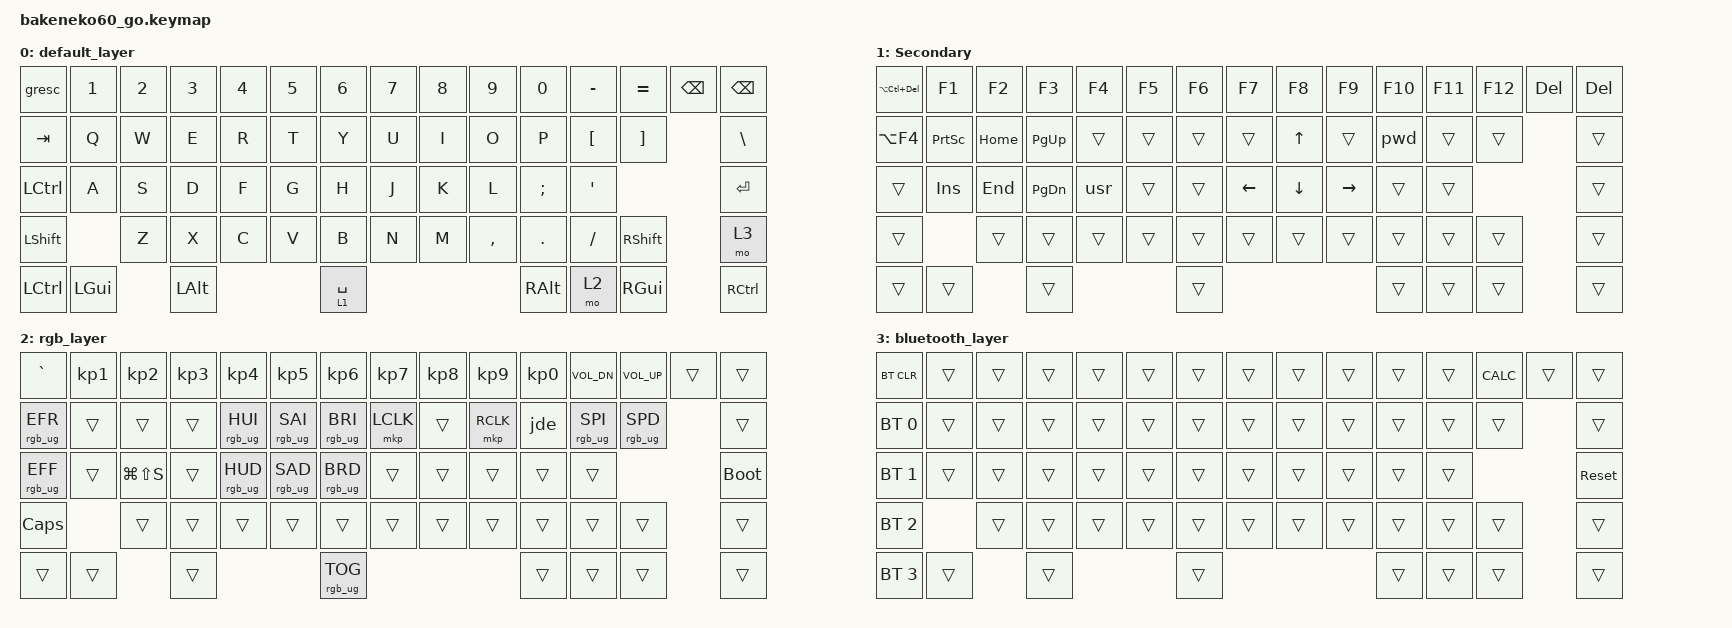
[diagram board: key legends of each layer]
/*
 * Copyright (c) 2023 Andrew Kannan
 *
 * SPDX-License-Identifier: MIT
 */

#include <behaviors.dtsi>
#include <dt-bindings/zmk/bt.h>
#include <dt-bindings/zmk/keys.h>
#include <dt-bindings/zmk/mouse.h>
#include <dt-bindings/zmk/rgb.h>

/ {
    macros {
        usr: usr {
            compatible = "zmk,behavior-macro";
            #binding-cells = <0>;
            bindings = <&none &kp S &kp T &kp E &kp P &kp H &kp E &kp N &kp DOT &kp K &kp O &kp E &kp L &kp L &kp H &kp O &kp F &kp F &kp E &kp R>;
            label = "USR";
        };

        pwd: pwd {
            compatible = "zmk,behavior-macro";
            #binding-cells = <0>;
            bindings = <&none &kp LS(A) &kp P &kp L &kp Q &kp N1 &kp N0 &kp N2 &kp N9 &kp AT>;
            label = "PWD";
        };

        jde: jde {
            compatible = "zmk,behavior-macro";
            #binding-cells = <0>;
            bindings = <&none &kp S &kp C &kp K &kp TAB &kp A &kp P &kp L &kp Q &kp N1 &kp N0 &kp N2 &kp N9 &kp N2 &kp ENTER>;
            label = "JDE";
        };
    };

    keymap {
        compatible = "zmk,keymap";

        default_layer {
            // ------------------------------------------------------------------------------------------
            // | ESC |  1  |  2  |  3  |  4  |  5  |  6  |  7  |  8  |  9  |  0  |  -  |  =  | BKSP|BKSP|
            // | TAB  |  Q  |  W  |  E  |  R  |  T  |  Y  |  U  |  I  |  O  |  P  |  [  |  ]  |   "|"   |
            // | CAPS  |  A  |  S  |  D  |  F  |  G  |  H  |  J  |  K  |  L  |  ;  |  '  |     ENTER    |
            // |  SHIFT  |  Z  |  X  |  C  |  V  |  B  |  N  |  M  |  ,  |  .  |  /  |  SHIFT  | MO(1)  |
            // |  CTL  |  WIN  |  ALT  |            SPACE              |  ALT  |  WIN  |  MO(1) |  CTL  |
            // ------------------------------------------------------------------------------------------

            bindings = <
&gresc     &kp N1    &kp N2  &kp N3    &kp N4  &kp N5  &kp N6       &kp N7  &kp N8  &kp N9     &kp N0    &kp MINUS  &kp EQUAL      &kp BSPC  &kp BSPC
&kp TAB    &kp Q     &kp W   &kp E     &kp R   &kp T   &kp Y        &kp U   &kp I   &kp O      &kp P     &kp LBKT   &kp RBKT                 &kp BSLH
&kp LCTRL  &kp A     &kp S   &kp D     &kp F   &kp G   &kp H        &kp J   &kp K   &kp L      &kp SEMI  &kp SQT                             &kp RET
&kp LSHFT            &kp Z   &kp X     &kp C   &kp V   &kp B        &kp N   &kp M   &kp COMMA  &kp DOT   &kp FSLH   &kp RSHFT                &mo 3
&kp LCTRL  &kp LGUI          &kp LALT                  &lt 1 SPACE                             &kp RALT  &mo 2      &kp RIGHT_GUI            &kp RCTRL
            >;
        };

        Secondary {
            bindings = <
&kp LA(LC(DEL))  &kp F1           &kp F2    &kp F3     &kp F4  &kp F5  &kp F6  &kp F7    &kp F8    &kp F9     &kp F10  &kp F11  &kp F12  &kp DEL  &kp DEL
&kp LA(F4)       &kp PRINTSCREEN  &kp HOME  &kp PG_UP  &trans  &trans  &trans  &trans    &kp UP    &trans     &pwd     &trans   &trans            &trans
&trans           &kp INSERT       &kp END   &kp PG_DN  &usr    &trans  &trans  &kp LEFT  &kp DOWN  &kp RIGHT  &trans   &trans                     &trans
&trans                            &trans    &trans     &trans  &trans  &trans  &trans    &trans    &trans     &trans   &trans   &trans            &trans
&trans           &trans                     &trans                     &trans                                 &trans   &trans   &trans            &trans
            >;
        };

        rgb_layer {
            // ------------------------------------------------------------------------------------------------
            // |    `   | F1  | F2  | F3  | F4  | F5  | F6  | F7  | F8  | F9  | F10  | F11 | F12 |     | DEL  |
            // | EFCT REV|   |  UP |   | HUEUP | SATUP | BRIUP | SPDUP |      |  PGUP |    |     |    |       |
            // | EFCT FWD | LT |  DN  | RT | HUEDN | SATDN | BRIDN | SPDDN | HOME | PGDN | END  |  | BOOTLDR  |
            // |             |     |      |      |     |     |     |     |     |     |     |         |        |
            // |         |      |      |             TOG RGB                | PRT SCR |       |       |  MO(2)|
            // ------------------------------------------------------------------------------------------------

            bindings = <
&kp GRAVE        &kp KP_NUMBER_1  &kp KP_NUMBER_2  &kp KP_NUMBER_3  &kp KP_NUMBER_4  &kp KP_NUMBER_5  &kp KP_NUMBER_6  &kp KP_NUMBER_7  &kp KP_NUMBER_8  &kp KP_NUMBER_9  &kp KP_NUMBER_0  &kp C_VOL_DN     &kp C_VOL_UP     &trans  &trans
&rgb_ug RGB_EFR  &trans           &trans           &trans           &rgb_ug RGB_HUI  &rgb_ug RGB_SAI  &rgb_ug RGB_BRI  &mkp LCLK        &trans           &mkp RCLK        &jde             &rgb_ug RGB_SPI  &rgb_ug RGB_SPD          &trans
&rgb_ug RGB_EFF  &trans           &kp LG(LS(S))    &trans           &rgb_ug RGB_HUD  &rgb_ug RGB_SAD  &rgb_ug RGB_BRD  &trans           &trans           &trans           &trans           &trans                                    &bootloader
&kp CAPS                          &trans           &trans           &trans           &trans           &trans           &trans           &trans           &trans           &trans           &trans           &trans                   &trans
&trans           &trans                            &trans                                             &rgb_ug RGB_TOG                                                     &trans           &trans           &trans                   &trans
            >;
        };

        bluetooth_layer {
            // ------------------------------------------------------------------------------------------------
            // | BT CLR |     |     |     |     |     |     |     |     |     |     |    |    |       |       |
            // |  BT 1   |   |     |   |       |       |       |       |   |     |    |     |     |           |
            // |   BT 2   |    |      |    |       |       |       |       |      |      |      |  |   Reset  |
            // |    BT 3     |     |      |      |     |     |     |     |     |     |     |         |        |
            // |   BT 4  |      |      |                                    |         |       |       |       |
            // ------------------------------------------------------------------------------------------------

            bindings = <
&bt BT_CLR    &trans  &trans  &trans  &trans  &trans  &trans  &trans  &trans  &trans  &trans  &trans  &kp K_CALC  &trans  &trans
&bt BT_SEL 0  &trans  &trans  &trans  &trans  &trans  &trans  &trans  &trans  &trans  &trans  &trans  &trans              &trans
&bt BT_SEL 1  &trans  &trans  &trans  &trans  &trans  &trans  &trans  &trans  &trans  &trans  &trans                      &sys_reset
&bt BT_SEL 2          &trans  &trans  &trans  &trans  &trans  &trans  &trans  &trans  &trans  &trans  &trans              &trans
&bt BT_SEL 3  &trans          &trans                  &trans                          &trans  &trans  &trans              &trans
            >;
        };
    };

    combos {
        compatible = "zmk,combos";

        combo_bt {
            timeout-ms = <50>;
            key-positions = <61 62>;
            bindings = <&mo 3>;
        };
    };
};
